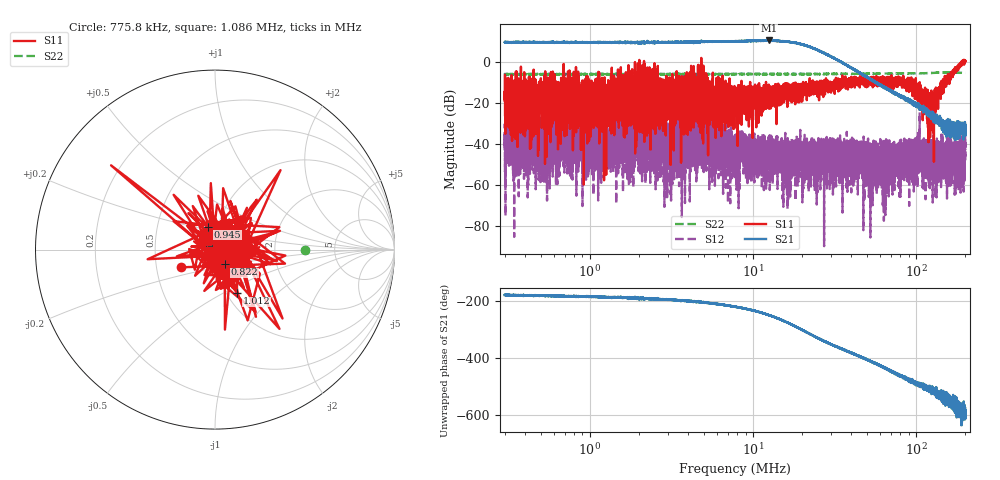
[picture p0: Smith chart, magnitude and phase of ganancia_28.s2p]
# Hz S DB R 50
! CMT, M5065, 19127446, 24.2.4/2
! Date: 11/1/2024 3:28:47 PM
! Data: Format (Calibration Info)
! Freq	S11:dB/Ang(F2)	S21:dB/Ang(F2)	S12:dB/Ang(F2)	S22:dB/Ang(F2)
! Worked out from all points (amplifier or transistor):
!   9000 points, 300 kHz to 200 MHz, reference 50 ohm
!   highest |S21| = 10.4 dB at 12.48 MHz (marker M1)
!   |S21| within 3 dB of that: start of sweep to 21.91 MHz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
!   unconditionally stable (mu >= 1): 2.147 MHz to 4.811 MHz; 4.816 MHz to 188.9 MHz; 189.1 MHz to 191.1 MHz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
!   at 886.8 kHz: K = 10.56, MAG = 10.7 dB, |S12| = -38.5 dB
!   at 7.749 MHz: K = 15.58, MAG = 11.4 dB, |S12| = -42.6 dB
!   at 200 MHz: K = -146.80, MSG = 6.8 dB, |S12| = -45.1 dB
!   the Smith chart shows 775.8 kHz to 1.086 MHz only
!   S11 on the Smith chart (normalised r, x): 775.8 kHz: 0.67, -0.14; 822 kHz: 1.10, -0.18; 945 kHz: 0.90, +0.23; 1.012 MHz: 1.12, -0.59; 1.086 MHz: 1.47, +0.05
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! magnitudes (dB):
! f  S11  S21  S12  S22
! 300 kHz  -17.0  9.6  -43.2  -6.0
! 722.3 kHz  -11.6  9.4  -39.5  -6.1
! 775.8 kHz  -13.4  9.7  -51.9  -6.0
! 822 kHz  -20.2  9.5  -43.1  -6.0
! 886.8 kHz  -20.9  9.5  -38.5  -6.1
! 945 kHz  -17.5  9.6  -39.2  -6.0
! 1.012 MHz  -11.3  9.6  -40.8  -6.0
! 1.086 MHz  -14.3  9.4  -44.2  -6.0
! 1.252 MHz  -29.4  9.5  -40.9  -6.1
! 2.183 MHz  -16.8  9.5  -24.9  -5.9
! 2.621 MHz  -15.6  9.5  -36.4  -6.1
! 4.679 MHz  -21.6  9.6  -27.5  -6.2
! 5.696 MHz  -14.0  10.0  -46.4  -6.0
! 6.123 MHz  -13.2  10.1  -39.8  -6.1
! 7.749 MHz  -15.5  10.0  -42.6  -6.0
! 12.48 MHz  -11.2  10.4  -49.3  -6.0
! 22.91 MHz  -12.5  7.0  -45.4  -6.0
! 67.71 MHz  -8.8  -13.5  -48.4  -5.7
! 96.96 MHz  -13.5  -20.0  -43.8  -5.7
! 125.1 MHz  -27.5  -24.8  -43.3  -5.5
! 152.2 MHz  -10.2  -30.7  -47.4  -5.3
! 200 MHz  0.3  -31.4  -45.1  -5.4
